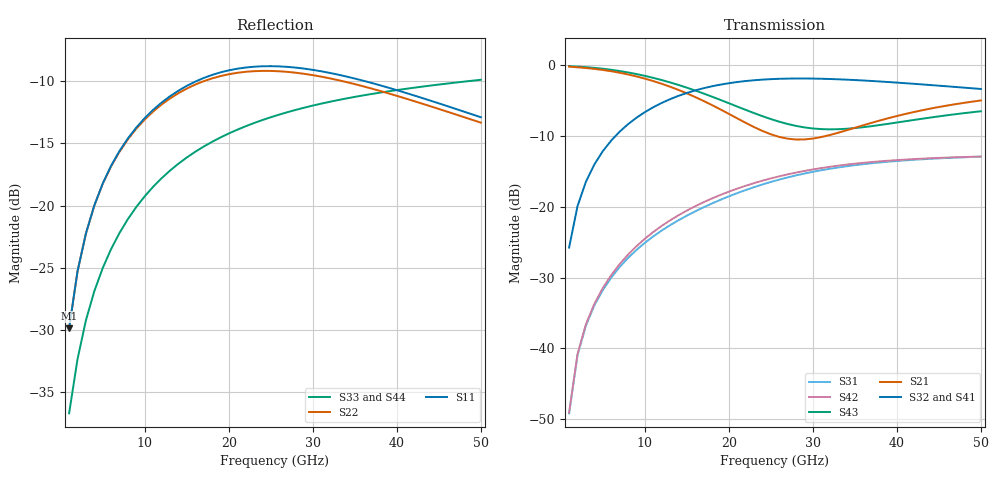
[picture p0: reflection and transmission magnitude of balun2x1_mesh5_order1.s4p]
! Created with skrf 2.2.0 (http://scikit-rf.org).
# GHz S DB R 50.0
! Port[1] = P1
! Port[2] = P2
! Port[3] = P3
! Port[4] = P4
!freq dBS11 angS11 dBS12 angS12 dBS13 angS13
! dBS14 angS14
! dBS21 angS21 dBS22 angS22 dBS23 angS23
! dBS24 angS24
! dBS31 angS31 dBS32 angS32 dBS33 angS33
! dBS34 angS34
! dBS41 angS41 dBS42 angS42 dBS43 angS43
! dBS44 angS44
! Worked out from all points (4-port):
!   50 points, 1 GHz to 50 GHz, reference 50 ohm
!   strongest paths, dB at 1 GHz, 13 GHz, 26 GHz, 38 GHz, 50 GHz:
!     S32: -25.8, -4.8, -1.9, -2.3, -3.3
!     S41: -25.8, -4.8, -1.9, -2.3, -3.4
!     S21: -0.2, -3.0, -10.1, -7.8, -5.0
!     S43: -0.1, -2.4, -8.0, -8.4, -6.5
!     S42: -49.1, -21.9, -15.7, -13.6, -12.9
!     S31: -49.2, -22.6, -16.2, -13.7, -12.9
!   lowest |S11| = -29.9 dB at 1 GHz (marker M1), VSWR 1.07, Z = 51.9 + j2.68 ohm
!   |S11| at or under -10 dB: start of sweep to 16.08 GHz; 36.3 GHz to end of sweep
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1  -29.89 53.8  -0.19 -5.8  -49.20 139.9  -25.76 84.2
   -0.19 -5.8  -29.88 53.6  -25.76 84.2  -49.09 140.3
   -49.20 139.9  -25.76 84.2  -36.73 -43.7  -0.12 -3.2
   -25.76 84.2  -49.09 140.3  -0.12 -3.2  -36.72 -43.6
3  -22.25 61.6  -0.38 -16.4  -36.79 108.0  -16.45 76.5
   -0.38 -16.4  -22.25 60.9  -16.46 76.5  -36.60 109.1
   -36.79 108.0  -16.46 76.5  -29.24 -80.9  -0.26 -9.2
   -16.45 76.5  -36.60 109.1  -0.26 -9.2  -29.21 -80.7
7  -15.60 50.0  -1.05 -37.7  -28.53 90.1  -9.40 60.3
   -1.05 -37.7  -15.66 48.6  -9.40 60.3  -28.12 91.6
   -28.53 90.1  -9.40 60.3  -22.20 -109.6  -0.80 -20.6
   -9.40 60.3  -28.12 91.6  -0.80 -20.6  -22.12 -109.1
14  -10.75 21.2  -3.47 -77.6  -21.91 70.5  -4.35 32.2
    -3.47 -77.6  -10.95 19.0  -4.32 32.2  -21.21 70.2
    -21.91 70.5  -4.32 32.2  -16.63 -143.6  -2.77 -37.5
    -4.35 32.2  -21.21 70.2  -2.77 -37.5  -16.44 -143.1
23  -8.82 -16.6  -8.72 -143.8  -17.23 47.4  -2.15 -0.5
    -8.72 -143.8  -9.18 -19.1  -2.11 -0.7  -16.66 44.1
    -17.23 47.4  -2.11 -0.7  -13.36 -179.0  -6.75 -44.3
    -2.15 -0.5  -16.66 44.1  -6.75 -44.3  -13.09 -179.4
35  -9.77 -59.4  -8.83 107.7  -14.12 15.1  -2.12 -34.2
    -8.83 107.7  -10.22 -61.9  -2.08 -34.7  -13.91 11.0
    -14.12 15.1  -2.08 -34.7  -11.25 143.6  -8.87 -22.4
    -2.12 -34.2  -13.91 11.0  -8.87 -22.4  -11.05 142.1
50  -12.89 -99.4  -4.97 51.3  -12.92 -18.4  -3.37 -63.4
    -4.97 51.3  -13.33 -102.5  -3.34 -64.1  -12.90 -22.1
    -12.92 -18.4  -3.34 -64.1  -9.87 108.0  -6.49 -19.0
    -3.37 -63.4  -12.90 -22.1  -6.49 -19.0  -9.77 105.9
